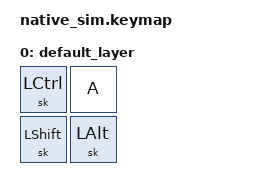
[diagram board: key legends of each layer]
#include <dt-bindings/zmk/keys.h>
#include <behaviors.dtsi>
#include <dt-bindings/zmk/kscan_mock.h>

&sk {
    quick-release;
};

/ {
    keymap {
        compatible = "zmk,keymap";

        default_layer {
            bindings = <&sk LEFT_CONTROL &kp A
                        &sk LEFT_SHIFT &sk LEFT_ALT>;
        };
    };
};

&kscan {
    events = <
              /* tap sk LEFT_CONTROL */
              ZMK_MOCK_PRESS(0,0,10)
              ZMK_MOCK_RELEASE(0,0,10)
              /* tap sk LEFT_SHIFT */
              ZMK_MOCK_PRESS(1,0,10)
              ZMK_MOCK_RELEASE(1,0,10)
              /* tap sk LEFT_ALT */
              ZMK_MOCK_PRESS(1,1,10)
              ZMK_MOCK_RELEASE(1,1,10)
              /* tap A */
              ZMK_MOCK_PRESS(0,1,10)
              ZMK_MOCK_RELEASE(0,1,10)
              /* tap A (no sticky keys anymore) */
              ZMK_MOCK_PRESS(0,1,10)
              ZMK_MOCK_RELEASE(0,1,10)>;
};
